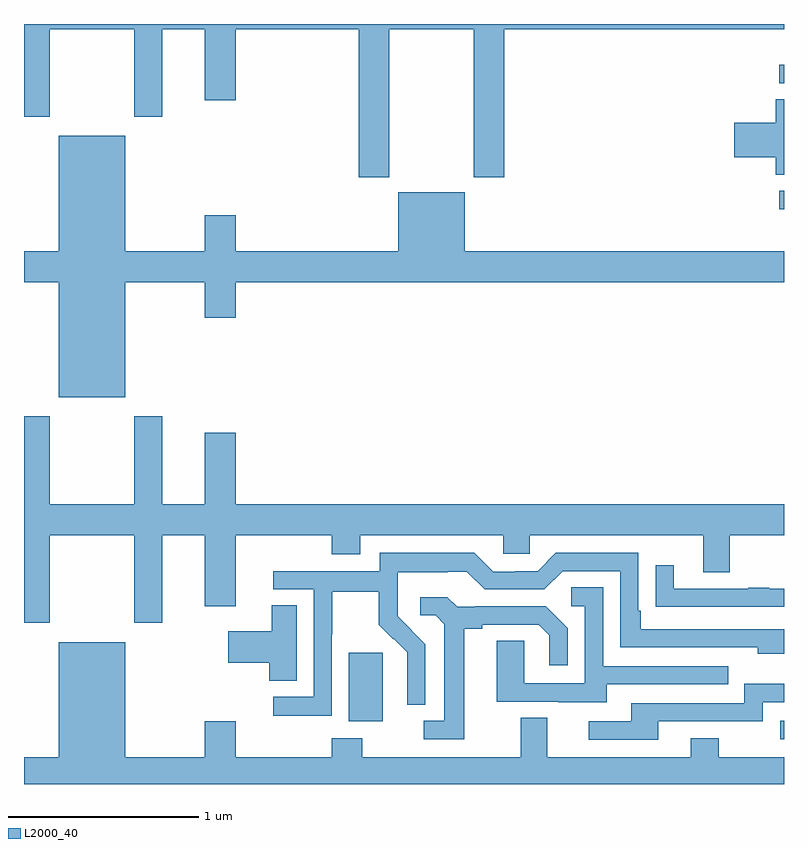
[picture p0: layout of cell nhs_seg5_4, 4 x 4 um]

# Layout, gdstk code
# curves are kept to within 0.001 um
import gdstk
lib = gdstk.Library(unit=1e-6, precision=1e-09)
def R(c, l, rs):  # rectangles x0, y0, x1, y1
    for r in rs: c.add(gdstk.rectangle(r[:2], r[2:], *l))
def P(c, l, *ps):  # polygons
    for p in ps: c.add(gdstk.Polygon(p, *l))
L2000_40 = (2000, 40)

nhs_seg5_4 = lib.new_cell('nhs_seg5_4')
R(nhs_seg5_4, L2000_40, [(114.981,841.035,115,841.131), (112.709,841.13,112.888,841.491), (114.975,843.823,115,843.921), (114.975,844.488,115,844.584)])
P(nhs_seg5_4, L2000_40, [(112.923,844.772),(113.368,844.772),(113.368,843.993),(113.528,843.993),(113.528,844.772),(115,844.772),(115,844.799),(111,844.799),(111,844.311),(111.135,844.311),(111.135,844.772),(111.58,844.772),(111.58,844.311),(111.727,844.311),(111.727,844.772),(111.95,844.772),(111.95,844.398),(112.114,844.398),(112.114,844.772),(112.763,844.772),(112.763,843.993),(112.923,843.993)],
  [(115,844.403),(114.956,844.403),(114.956,844.28),(114.738,844.28),(114.738,844.097),(114.956,844.097),(114.956,844.006),(115,844.006)],
  [(111.532,843.44),(111.95,843.44),(111.95,843.252),(112.114,843.252),(112.114,843.44),(115,843.44),(115,843.604),(113.32,843.604),(113.32,843.913),(112.97,843.913),(112.97,843.604),(112.114,843.604),(112.114,843.793),(111.95,843.793),(111.95,843.604),(111.532,843.604),(111.532,844.21),(111.182,844.21),(111.182,843.604),(111,843.604),(111,843.44),(111.182,843.44),(111.182,842.834),(111.532,842.834)],
  [(111.135,842.108),(111.58,842.108),(111.58,841.647),(111.727,841.647),(111.727,842.108),(111.95,842.108),(111.95,841.734),(112.114,841.734),(112.114,842.108),(112.619,842.108),(112.619,842.009),(112.771,842.009),(112.771,842.108),(113.523,842.108),(113.523,842.01),(113.661,842.01),(113.661,842.108),(114.575,842.108),(114.575,841.914),(114.715,841.914),(114.715,842.108),(115,842.108),(115,842.272),(112.114,842.272),(112.114,842.647),(111.95,842.647),(111.95,842.272),(111.727,842.272),(111.727,842.734),(111.58,842.734),(111.58,842.272),(111.135,842.272),(111.135,842.734),(111,842.734),(111,841.647),(111.135,841.647)],
  [(112.62,841.588),(112.623,841.588),(112.623,841.812),(112.867,841.812),(112.867,841.637),(112.944,841.56),(112.947,841.563),(113.018,841.493),(113.018,841.37),(113.016,841.37),(113.016,841.216),(113.112,841.216),(113.112,841.534),(112.966,841.682),(112.966,841.779),(112.968,841.779),(112.968,841.913),(113.231,841.913),(113.231,841.917),(113.331,841.917),(113.424,841.824),(113.739,841.824),(113.835,841.92),(114.138,841.92),(114.138,841.518),(114.863,841.518),(114.863,841.484),(115,841.484),(115,841.614),(114.247,841.614),(114.247,841.711),(114.234,841.711),(114.234,842.016),(113.799,842.016),(113.703,841.92),(113.585,841.92),(113.585,841.917),(113.469,841.917),(113.369,842.017),(112.872,842.017),(112.872,841.92),(112.311,841.92),(112.311,841.824),(112.524,841.824),(112.524,841.257),(112.311,841.257),(112.311,841.159),(112.62,841.159)],
  [(115,841.827),(114.923,841.827),(114.923,841.832),(114.811,841.832),(114.811,841.827),(114.421,841.827),(114.421,841.951),(114.325,841.951),(114.325,841.732),(114.427,841.732),(114.427,841.731),(115,841.731)],
  [(114.067,841.323),(114.707,841.323),(114.707,841.419),(114.048,841.419),(114.048,841.835),(113.88,841.835),(113.88,841.734),(113.952,841.734),(113.952,841.329),(113.634,841.329),(113.634,841.553),(113.489,841.553),(113.489,841.233),(113.813,841.233),(113.813,841.229),(114.067,841.229)],
  [(113.317,841.616),(113.413,841.616),(113.413,841.638),(113.708,841.638),(113.765,841.581),(113.765,841.425),(113.862,841.425),(113.862,841.618),(113.746,841.734),(113.374,841.734),(113.374,841.731),(113.28,841.731),(113.228,841.783),(113.085,841.783),(113.085,841.686),(113.166,841.686),(113.213,841.639),(113.213,841.131),(113.103,841.131),(113.103,841.035),(113.317,841.035)],
  [(112.435,841.739),(112.304,841.739),(112.304,841.603),(112.074,841.603),(112.074,841.438),(112.292,841.438),(112.292,841.342),(112.435,841.342)],
  [(115,840.94),(114.657,840.94),(114.657,841.039),(114.509,841.039),(114.509,840.94),(113.755,840.94),(113.755,841.148),(113.615,841.148),(113.615,840.94),(112.779,840.94),(112.779,841.039),(112.619,841.039),(112.619,840.94),(112.114,840.94),(112.114,841.129),(111.95,841.129),(111.95,840.94),(111.532,840.94),(111.532,841.546),(111.182,841.546),(111.182,840.94),(111,840.94),(111,840.799),(115,840.799)],
  [(114.337,841.128),(114.888,841.128),(114.888,841.23),(115,841.23),(115,841.327),(114.792,841.327),(114.792,841.224),(114.197,841.224),(114.197,841.128),(113.973,841.128),(113.973,841.032),(114.337,841.032)])

lib.write_gds('nhs_seg5_4.gds')
